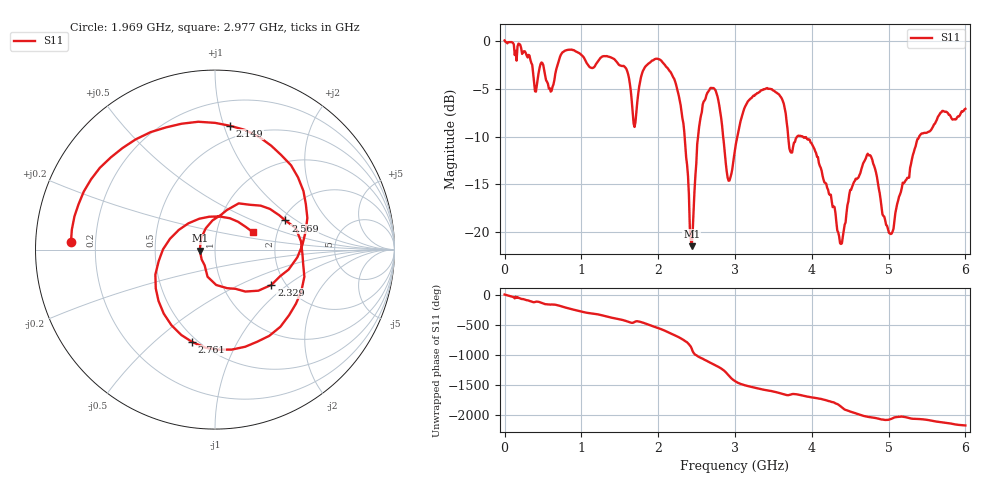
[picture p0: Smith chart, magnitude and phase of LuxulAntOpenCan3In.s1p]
# Hz S RI R 50
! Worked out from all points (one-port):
!   501 points, 1 MHz to 6 GHz, reference 50 ohm
!   lowest |S11| = -21.4 dB at 2.437 GHz (marker M1), VSWR 1.19, Z = 42.2 - j0.467 ohm
!   |S11| at or under -10 dB: 2.345 GHz to 2.52 GHz (175.1 MHz wide, 7.2 % of centre); 2.846 GHz to 3.031 GHz (184.9 MHz wide, 6.29 % of centre); 3.881 GHz to 5.399 GHz (1.518 GHz wide, 32.7 % of centre)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
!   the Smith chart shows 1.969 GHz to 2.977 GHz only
!   S11 on the Smith chart (normalised r, x): 1.969 GHz: 0.11, +0.02; 2.149 GHz: 0.39, +1.05; 2.329 GHz: 1.70, -0.77; 2.569 GHz: 2.07, +0.82; 2.761 GHz: 0.47, -0.67; 2.977 GHz: 1.49, +0.31
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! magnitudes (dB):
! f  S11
! 1 MHz  0.0
! 600.9 MHz  -5.3
! 756.9 MHz  -1.2
! 1.501 GHz  -2.6
! 1.693 GHz  -9.0
! 1.801 GHz  -3.2
! 1.969 GHz  -1.9
! 2.149 GHz  -3.2
! 2.257 GHz  -5.3
! 2.329 GHz  -8.6
! 2.437 GHz  -21.4
! 2.569 GHz  -7.4
! 2.761 GHz  -5.5
! 2.905 GHz  -14.3
! 2.977 GHz  -12.7
! 3.001 GHz  -11.4
! 3.144 GHz  -6.7
! 3.42 GHz  -4.9
! 3.612 GHz  -6.1
! 3.756 GHz  -11.1
! 4.02 GHz  -11.1
! 4.38 GHz  -21.2
! 4.5 GHz  -15.6
! 4.752 GHz  -11.9
! 5.028 GHz  -20.2
! 5.256 GHz  -14.3
! 5.412 GHz  -9.8
! 6 GHz  -7.1
